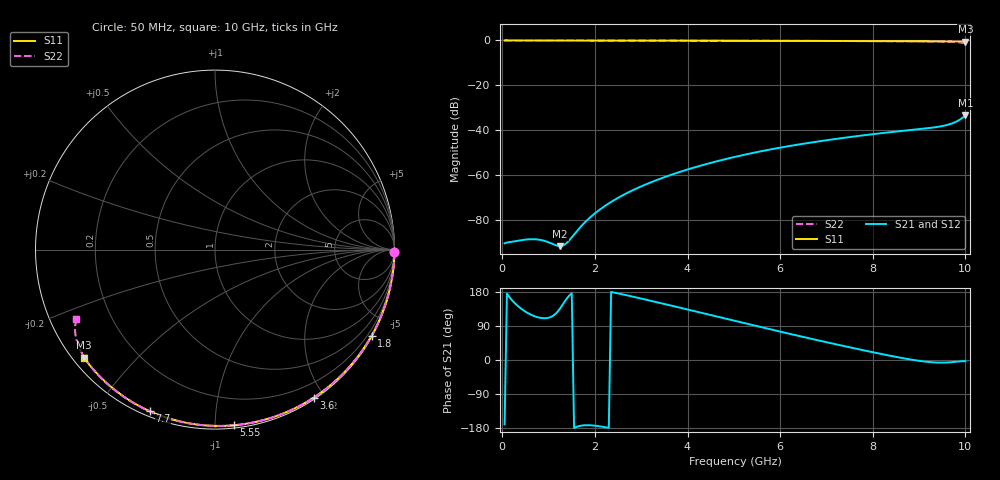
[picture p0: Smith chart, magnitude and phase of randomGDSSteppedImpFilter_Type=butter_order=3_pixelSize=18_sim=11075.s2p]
! freq	dB(S11)	phase(S11)	dB(S12)	phase(S12)
!  dB(S21)	phase(S21)	dB(S22)	phase(S22)
!S-par simulation data
#  GHz  S  DB  R 50
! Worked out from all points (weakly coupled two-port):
!   200 points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, 50 MHz to 10 GHz, reference 50 ohm
!   highest |S21| = -33.34 dB at 10 GHz (marker M1); lowest = -91.6 dB at 1.25 GHz (marker M2)
!   lowest |S11| = -0.5 dB at 10 GHz (marker M3), VSWR 36.25, Z = 1.56 - j17.9 ohm
!   |S11| at or under -10 dB: nowhere
!   |S22| runs from -1.3 to 0.0 dB; largest |S21 - S12| = 0
!   S11 on the Smith chart (normalised r, x): 50 MHz: open; 1.8 GHz: 0.03, -3.90; 3.6 GHz: 0.02, -1.87; 5.55 GHz: 0.02, -1.11; 7.7 GHz: 0.02, -0.67; 10 GHz: 0.03, -0.36
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0.05  -0.00 -0.8  -90.34 -169.8  -90.34 -169.8  -0.00 -0.8
0.65  -0.01 -10.5  -88.49 117.8  -88.49 117.8  -0.01 -10.7
1.25  -0.02 -20.1  -91.60 136.4  -91.60 136.4  -0.02 -20.4
1.75  -0.04 -28.0  -81.72 -172.5  -81.72 -172.5  -0.04 -28.5
1.8  -0.04 -28.8  -80.67 -172.1  -80.67 -172.1  -0.04 -29.3
1.85  -0.04 -29.6  -79.68 -172.1  -79.68 -172.1  -0.04 -30.0
2.2  -0.04 -35.0  -73.92 -176.9  -73.92 -176.9  -0.05 -35.6
2.55  -0.05 -40.4  -69.49 174.5  -69.49 174.5  -0.05 -41.1
2.95  -0.06 -46.5  -65.43 163.5  -65.43 163.5  -0.06 -47.3
3.4  -0.07 -53.3  -61.64 150.7  -61.64 150.7  -0.07 -54.1
3.6  -0.08 -56.2  -60.16 144.9  -60.16 144.9  -0.08 -57.1
4.3  -0.09 -66.4  -55.64 124.6  -55.64 124.6  -0.09 -67.5
5.05  -0.12 -77.0  -51.71 102.6  -51.71 102.6  -0.12 -78.3
5.55  -0.14 -83.9  -49.49 87.9  -49.49 87.9  -0.14 -85.3
6.7  -0.19 -99.2  -45.35 55.2  -45.35 55.2  -0.20 -101.0
7.7  -0.26 -112.0  -42.49 28.3  -42.49 28.3  -0.26 -114.4
8.35  -0.31 -120.2  -40.90 11.8  -40.90 11.8  -0.32 -123.1
9.05  -0.38 -128.9  -39.38 -3.0  -39.38 -3.0  -0.40 -132.9
9.55  -0.43 -135.0  -37.91 -6.8  -37.91 -6.8  -0.52 -141.2
9.8  -0.46 -138.1  -36.18 -4.6  -36.18 -4.6  -0.71 -146.8
9.9  -0.47 -139.3  -34.99 -3.4  -34.99 -3.4  -0.89 -149.8
10  -0.48 -140.5  -33.34 -3.0  -33.34 -3.0  -1.26 -153.3
